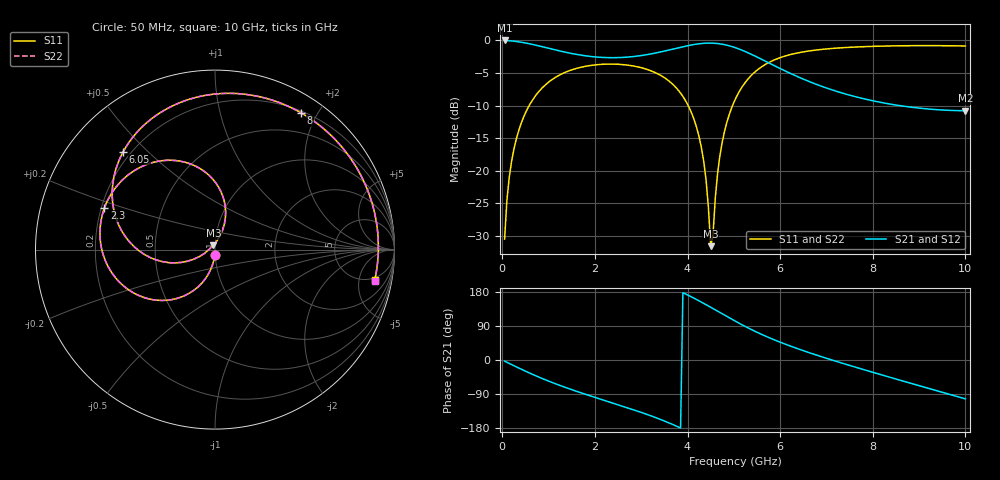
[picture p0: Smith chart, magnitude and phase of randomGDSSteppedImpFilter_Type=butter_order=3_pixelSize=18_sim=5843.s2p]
! freq	dB(S11)	phase(S11)	dB(S12)	phase(S12)
!  dB(S21)	phase(S21)	dB(S22)	phase(S22)
!S-par simulation data
#  GHz  S  DB  R 50
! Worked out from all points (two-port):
!   200 points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, 50 MHz to 10 GHz, reference 50 ohm
!   highest |S21| = -0.01 dB at 50 MHz (marker M1); lowest = -10.8 dB at 10 GHz (marker M2)
!   |S21| within 3 dB of the highest: start of sweep to 5.631 GHz
!   lowest |S11| = -31.5 dB at 4.5 GHz (marker M3), VSWR 1.05, Z = 49.1 + j2.45 ohm
!   |S11| at or under -10 dB: start of sweep to 580.3 MHz; 4.014 GHz to 4.972 GHz (958 MHz wide, 21.3 % of centre)
!   |S22| runs from -31.5 to -0.8 dB; largest |S21 - S12| = 0
!   S11 on the Smith chart (normalised r, x): 50 MHz: 0.99, -0.06; 2.3 GHz: 0.21, +0.17; 6.05 GHz: 0.17, +0.42; 8 GHz: 0.22, +1.79; 10 GHz: 4.36, -8.29
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0.05  -30.46 -93.3  -0.01 -3.1  -0.01 -3.1  -30.46 -93.3
0.1  -24.48 -96.5  -0.03 -6.1  -0.03 -6.1  -24.48 -96.5
0.2  -18.57 -102.7  -0.08 -12.1  -0.08 -12.1  -18.57 -102.7
0.5  -11.11 -120.1  -0.39 -29.5  -0.39 -29.5  -11.11 -120.1
1.05  -6.13 -148.6  -1.29 -58.1  -1.29 -58.1  -6.13 -148.6
1.75  -4.04 -179.1  -2.31 -88.6  -2.31 -88.6  -4.04 -179.1
2.3  -3.63 159.4  -2.64 -110.2  -2.64 -110.2  -3.63 159.4
3.4  -5.28 114.2  -1.80 -156.1  -1.80 -156.1  -5.28 114.2
3.9  -8.59 89.3  -0.97 177.7  -0.97 177.7  -8.59 89.3
4.2  -13.45 73.8  -0.56 159.3  -0.56 159.3  -13.45 73.8
4.4  -21.37 69.8  -0.42 146.0  -0.42 146.0  -21.37 69.8
4.5  -31.55 109.4  -0.41 139.1  -0.41 139.1  -31.52 109.5
4.55  -29.82 177.3  -0.42 135.7  -0.42 135.7  -29.81 177.2
4.7  -17.62 -155.7  -0.52 125.2  -0.52 125.2  -17.62 -155.8
5.05  -8.74 -173.2  -1.16 101.1  -1.16 101.1  -8.74 -173.2
5.55  -4.29 158.0  -2.72 70.3  -2.72 70.3  -4.29 157.9
6.05  -2.52 133.1  -4.48 44.6  -4.48 44.6  -2.52 133.0
6.7  -1.54 105.5  -6.51 16.3  -6.51 16.3  -1.54 105.5
8  -0.91 57.7  -9.25 -32.4  -9.25 -32.4  -0.91 57.6
8.35  -0.85 45.5  -9.73 -44.9  -9.73 -44.9  -0.85 45.4
9.2  -0.80 16.3  -10.52 -74.7  -10.52 -74.7  -0.80 16.2
10  -0.86 -10.8  -10.78 -102.5  -10.78 -102.5  -0.86 -11.0
